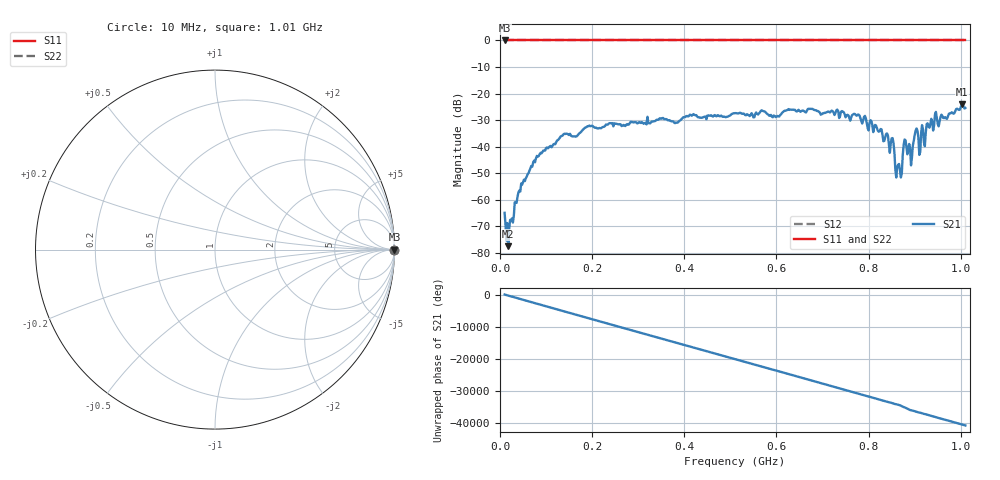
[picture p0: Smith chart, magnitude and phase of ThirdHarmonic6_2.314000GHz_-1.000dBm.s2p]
! 8/17/2025 3:14:10 AM
! C:\ANRITSUVNA\TEMP\TEMP.S2P
! CHANNEL.1
! TR.MEASUREMENT
! RAW.DATA
! RF.CORRECTION.OFF
! AVERAGING.OFF
! IF.BANDWIDTH: 5KHZ
! SWEEPTYPE:  FREQ.SWEEP(Linear)
! Reference Plane Port Info
! PORT:  PORT1  PORT2
! DISTANCE:  0  m  0  m
! TIME:  0  s  0  s
! PHASE.OFFSET:  0  deg.  0  deg.
! LOSS:  0  dB  0  dB
! REF.LOSS:  0  dB  0  dB
! REF.FREQ:  0  Hz  0  Hz
! Power Info
! POWER:  -20  dBm  -20  dBm
! EFF.POWER:  -20  dBm  -20  dBm
! SOURCE.ATTEN:  0  dB  0  dB
! TEST.ATTEN:  0  dB  0  dB
# GHZ S RI R 50.0
! FREQ.GHZ  S11RE  S11IM  S21RE  S21IM  S12RE  S12IM  S22RE  S22IM
!; PortSelection: Port_12
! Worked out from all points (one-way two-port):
!   501 points, 10 MHz to 1.01 GHz, reference 50 ohm
!   highest |S21| = -24.08 dB at 1.002 GHz (marker M1); lowest = -77.5 dB at 18 MHz (marker M2)
!   lowest |S11| = 0.0 dB at 10 MHz (marker M3)
!   |S11| at or under -10 dB: nowhere
!   |S22| runs from 0.0 to 0.0 dB; largest |S21 - S12| = 1.1
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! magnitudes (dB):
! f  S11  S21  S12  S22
! 10 MHz  0.0  -64.9  0.0  0.0
! 18 MHz  0.0  -77.5  0.0  0.0
! 42 MHz  0.0  -56.5  0.0  0.0
! 76 MHz  0.0  -45.9  0.0  0.0
! 136 MHz  0.0  -35.8  0.0  0.0
! 178 MHz  0.0  -34.0  0.0  0.0
! 344 MHz  0.0  -29.8  0.0  0.0
! 510 MHz  0.0  -27.4  0.0  0.0
! 602 MHz  0.0  -28.4  0.0  0.0
! 678 MHz  0.0  -25.8  0.0  0.0
! 776 MHz  0.0  -28.0  0.0  0.0
! 844 MHz  0.0  -39.1  0.0  0.0
! 852 MHz  0.0  -36.8  0.0  0.0
! 860 MHz  0.0  -51.6  0.0  0.0
! 868 MHz  0.0  -48.9  0.0  0.0
! 878 MHz  0.0  -37.3  0.0  0.0
! 894 MHz  0.0  -44.1  0.0  0.0
! 902 MHz  0.0  -33.9  0.0  0.0
! 910 MHz  0.0  -43.1  0.0  0.0
! 932 MHz  0.0  -32.8  0.0  0.0
! 1.002 GHz  0.0  -24.1  0.0  0.0
! 1.01 GHz  0.0  -25.4  0.0  0.0
